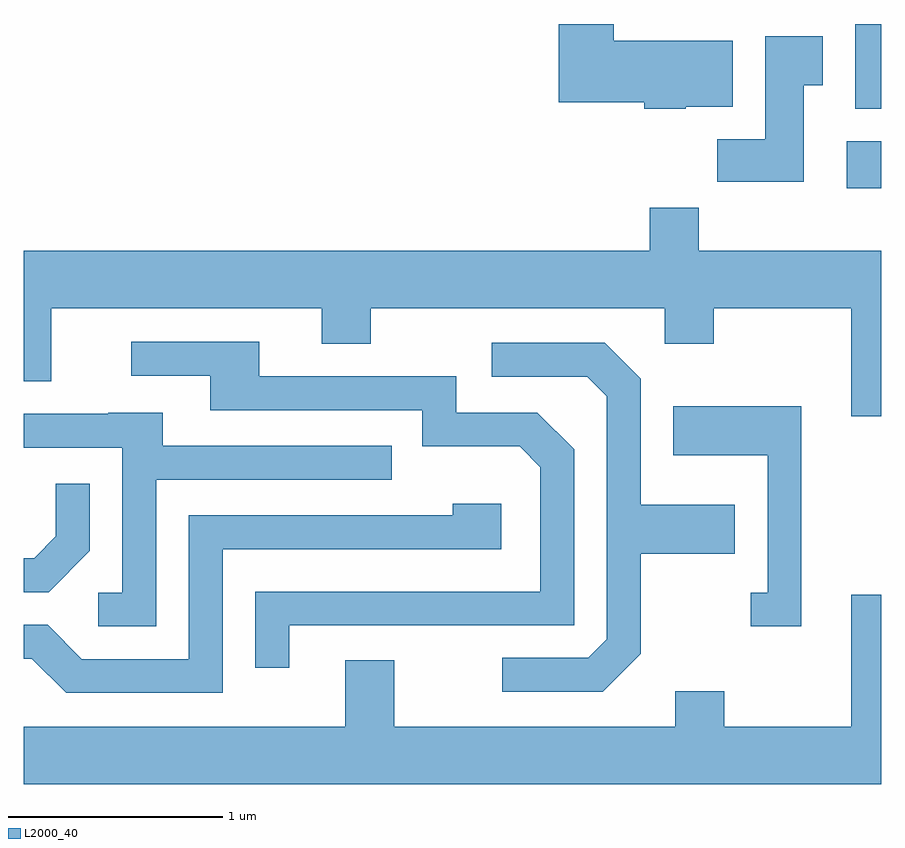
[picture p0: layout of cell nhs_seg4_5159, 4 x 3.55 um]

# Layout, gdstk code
import gdstk
lib = gdstk.Library(unit=1e-6, precision=1e-09)
def R(c, l, rs):  # rectangles x0, y0, x1, y1
    for r in rs: c.add(gdstk.rectangle(r[:2], r[2:], *l))
def P(c, l, *ps):  # polygons
    for p in ps: c.add(gdstk.Polygon(p, *l))
L2000_40 = (2000, 40)

nhs_seg4_5159 = lib.new_cell('nhs_seg4_5159')
R(nhs_seg4_5159, L2000_40, [(339.451,1375.216,339.611,1375.434), (339.491,1375.586,339.611,1375.982)])
P(nhs_seg4_5159, L2000_40, [(338.7,1375.596),(338.919,1375.596),(338.919,1375.904),(338.364,1375.904),(338.364,1375.982),(338.106,1375.982),(338.106,1375.616),(338.506,1375.616),(338.506,1375.586),(338.7,1375.586)],
  [(339.249,1375.696),(339.339,1375.696),(339.339,1375.924),(339.071,1375.924),(339.071,1375.444),(338.846,1375.444),(338.846,1375.246),(339.249,1375.246)],
  [(339.611,1374.924),(338.759,1374.924),(338.759,1375.124),(338.531,1375.124),(338.531,1374.924),(335.611,1374.924),(335.611,1374.316),(335.739,1374.316),(335.739,1374.656),(337.001,1374.656),(337.001,1374.491),(337.229,1374.491),(337.229,1374.656),(338.601,1374.656),(338.601,1374.491),(338.829,1374.491),(338.829,1374.656),(339.471,1374.656),(339.471,1374.151),(339.611,1374.151)],
  [(336.849,1373.176),(338.179,1373.176),(338.179,1373.997),(338.007,1374.169),(337.629,1374.169),(337.629,1374.339),(336.709,1374.339),(336.709,1374.499),(336.113,1374.499),(336.113,1374.341),(336.481,1374.341),(336.481,1374.181),(337.471,1374.181),(337.471,1374.011),(337.924,1374.011),(338.021,1373.914),(338.021,1373.334),(336.691,1373.334),(336.691,1372.978),(336.849,1372.978)],
  [(338.489,1373.044),(338.489,1373.511),(338.929,1373.511),(338.929,1373.739),(338.489,1373.739),(338.489,1374.327),(338.322,1374.494),(337.793,1374.494),(337.793,1374.336),(338.239,1374.336),(338.331,1374.244),(338.331,1373.112),(338.244,1373.024),(337.843,1373.024),(337.843,1372.866),(338.312,1372.866)],
  [(339.239,1374.199),(338.641,1374.199),(338.641,1373.971),(339.081,1373.971),(339.081,1373.329),(339.003,1373.329),(339.003,1373.171),(339.239,1373.171)],
  [(336.229,1373.856),(337.328,1373.856),(337.328,1374.014),(336.259,1374.014),(336.259,1374.169),(336.005,1374.169),(336.005,1374.164),(335.611,1374.164),(335.611,1374.006),(336.071,1374.006),(336.071,1373.329),(335.958,1373.329),(335.958,1373.171),(336.229,1373.171)],
  [(335.919,1373.524),(335.919,1373.838),(335.761,1373.838),(335.761,1373.592),(335.659,1373.489),(335.611,1373.489),(335.611,1373.331),(335.727,1373.331)],
  [(336.539,1373.531),(337.839,1373.531),(337.839,1373.744),(337.611,1373.744),(337.611,1373.689),(336.381,1373.689),(336.381,1373.019),(335.882,1373.019),(335.722,1373.179),(335.611,1373.179),(335.611,1373.021),(335.649,1373.021),(335.809,1372.861),(336.539,1372.861)],
  [(339.611,1373.319),(339.471,1373.319),(339.471,1372.704),(338.879,1372.704),(338.879,1372.869),(338.651,1372.869),(338.651,1372.704),(337.339,1372.704),(337.339,1373.014),(337.111,1373.014),(337.111,1372.704),(335.611,1372.704),(335.611,1372.436),(339.611,1372.436)])

lib.write_gds('nhs_seg4_5159.gds')
